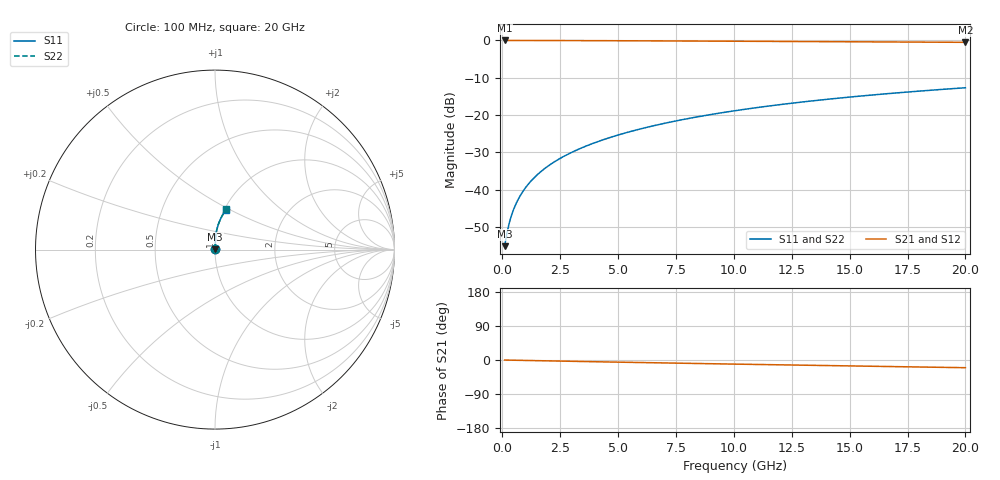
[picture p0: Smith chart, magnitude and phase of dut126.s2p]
! Touchstone file exported from HFSS 2024.1.0
!  File:  C:/UserFiles/LocalFiles/RDL_TSV_Batchsim/temp_RDL_top_126_1778684217.aedt
!  Generated:  10:59:24 PM May 13, 2026
!  Design:  RDL_top
!  Project:  temp_RDL_top_126_1778684217
!  Setup:  Setup1
!  Solution:  Sweep
! Variables:
!  dtsv = 10.80580581um
!  hbump = 3um
!  htsv = 92.5um
!  ldown = 100um
!  lrdl = 230.16um
!  p = 40
!  p1 = 58.38um
!  rhole = 1um
!  t = 450um
!  tdown = 3.915915916um
!  trdl = 3.23um
!  wdown = 15.38538539um
!  wrdl = 22.89um
# GHz S MA R 50.000000
! Terminal data exported
! Port[1] = Box2_T1
! Port[2] = Box2_T2
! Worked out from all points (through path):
!   200 points, 100 MHz to 20 GHz, reference 50 ohm
!   highest |S21| = -0.01 dB at 100 MHz (marker M1); lowest = -0.5 dB at 20 GHz (marker M2)
!   group delay of S21, straight-line fit = 2.79 ps
!   lowest |S11| = -55.2 dB at 100 MHz (marker M3), VSWR 1.00, Z = 50.1 + j0.112 ohm
!   |S11| at or under -10 dB: start of sweep to end of sweep
!   |S22| runs from -55.2 to -12.7 dB; largest |S21 - S12| = 3.4e-15
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0.1  0.001747 39.6  0.9986 -0.1  0.9986 -0.1  0.001747 39.6
! Gamma 0 0 0 0
! Port Impedance 50 0 50 0
0.2  0.002609 57.7  0.9986 -0.2  0.9986 -0.2  0.002609 57.7
0.3  0.003571 66.1  0.9985 -0.4  0.9985 -0.4  0.003571 66.1
0.4  0.004556 70.9  0.9984 -0.5  0.9984 -0.5  0.004556 70.9
0.5  0.005548 74.0  0.9984 -0.6  0.9984 -0.6  0.005548 74.0
0.6  0.006545 76.3  0.9983 -0.7  0.9983 -0.7  0.006545 76.3
0.8  0.008555 79.4  0.9981 -0.9  0.9981 -0.9  0.008555 79.4
1.1  0.01161 82.2  0.9979 -1.3  0.9979 -1.3  0.01161 82.2
1.5  0.01573 84.3  0.9975 -1.8  0.9975 -1.8  0.01573 84.3
1.8  0.01885 85.3  0.9971 -2.1  0.9971 -2.1  0.01885 85.3
2.1  0.022 86.1  0.9967 -2.4  0.9967 -2.4  0.02201 86.1
2.7  0.02839 87.0  0.9957 -3.1  0.9957 -3.1  0.02839 87.0
3.5  0.03709 87.7  0.9941 -4.0  0.9941 -4.0  0.03709 87.7
4.2  0.04487 87.9  0.9925 -4.8  0.9925 -4.8  0.04487 87.9
5  0.05396 88.0  0.9904 -5.7  0.9904 -5.7  0.05396 88.0
5.9  0.06439 87.7  0.9879 -6.6  0.9879 -6.6  0.06439 87.7
6.8  0.07501 87.3  0.9853 -7.6  0.9853 -7.6  0.07501 87.3
8.4  0.09422 86.2  0.9804 -9.2  0.9804 -9.2  0.09423 86.2
10.1  0.1149 84.7  0.9751 -10.9  0.9751 -10.9  0.1149 84.7
13.4  0.1549 81.3  0.9647 -14.1  0.9647 -14.1  0.1549 81.3
16.7  0.1941 77.9  0.954 -17.2  0.954 -17.2  0.1941 77.9
20  0.2319 74.4  0.9428 -20.3  0.9428 -20.3  0.2319 74.4
